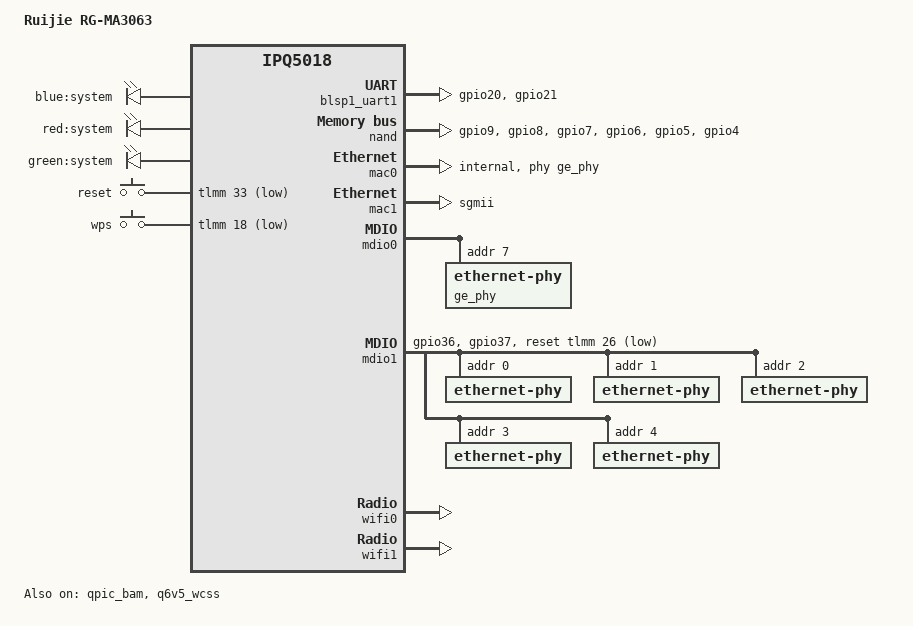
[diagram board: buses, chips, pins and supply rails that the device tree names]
// SPDX-License-Identifier: (GPL-2.0+)
//
// Ruijie RG-MA3063 (wuhu3) — Qualcomm IPQ5018 / AP-MP03.5-C1 reference board
// SPI NAND: GigaDevice GD5F2GM7REYIGR 256MiB SLC, 512MB RAM
// 2.4G: IPQ5018 internal (ath11k), 5G: QCN6122 (ath11k)
//
// FIRST-DRAFT port. Derived from hzyitc ipq5000-rax3000q.dts (QCA8337 + SGMII,
// matching the mp03.5-c1 reference) with board GPIOs decoded from the stock DTB
// (LED blue=17 red=19 green=22, reset=33, wps=18, UART rx=20 tx=21).
// Verify LED/key GPIOs and QCN6122 board_id via TTL serial after first boot.
// build#12 re-trigger 210759: conf.c syncconfig 补丁位置已修正（落 alldefconfig 分支，conf_read 之后取默认）。

/dts-v1/;

#include "ipq5018.dtsi"
#include <dt-bindings/gpio/gpio.h>
#include <dt-bindings/input/input.h>

/ {
	model = "Ruijie RG-MA3063";
	compatible = "ruijie,rg-ma3063", "qcom,ipq5018";

	#address-cells = <2>;
	#size-cells = <2>;
	interrupt-parent = <&intc>;

	aliases {
		serial0 = &blsp1_uart1;

		ethernet0 = &mac0;
		ethernet1 = &mac1;

		led-boot = &led_system_blue;
		led-failsafe = &led_system_red;
		led-running = &led_system_blue;
		led-upgrade = &led_system_green;
	};

	chosen {
		// Override the root parameter from u-boot
		bootargs-append = " root=/dev/ubiblock0_1 coherent_pool=2M";
		stdout-path = "serial0:115200n8";
	};

	reserved-memory {
		// Not sure why but without this, WiFi will crash
		tz_apps@4a400000 {
			no-map;
			reg = <0x0 0x4a400000 0x0 0x700000>;
		};

		q6_mem_regions: q6_mem_regions@4b000000 {
			no-map;
			reg = <0x0 0x4b000000 0x0 0x3000000>;
		};
	};

	thermal-zones {
		status = "ok";
	};
};

&tlmm {
	blsp_uart0_pins: blsp_uart0_pins {
		pins =
			"gpio20", // RX  (decode from stock DTB)
			"gpio21"; // TX
		function = "blsp0_uart1";
		drive-strength = <8>;
		bias-disable;
	};

	qspi_nand_pins: qspi_nand_pins {
		clock {
			pins = "gpio9";
			function = "qspi_clk";
			drive-strength = <8>;
			bias-disable;
		};

		cs {
			pins = "gpio8";
			function = "qspi_cs";
			drive-strength = <8>;
			bias-disable;
		};

		data0 {
			pins = "gpio7";
			function = "qspi0";
			drive-strength = <8>;
			bias-disable;
		};

		data1 {
			pins = "gpio6";
			function = "qspi1";
			drive-strength = <8>;
			bias-disable;
		};

		data2 {
			pins = "gpio5";
			function = "qspi2";
			drive-strength = <8>;
			bias-disable;
		};

		data3 {
			pins = "gpio4";
			function = "qspi3";
			drive-strength = <8>;
			bias-disable;
		};
	};

	mdio1_pins: mdio1_pins {
		mdc {
			pins = "gpio36";
			function = "mdc";
			drive-strength = <8>;
			bias-pull-up;
		};

		mdio {
			pins = "gpio37";
			function = "mdio";
			drive-strength = <8>;
			bias-pull-up;
		};
	};

	leds_pins: leds_pins {
		led_system_blue {
			pins = "gpio17";
			function = "gpio";
			drive-strength = <8>;
			bias-pull-down;
		};

		led_system_red {
			pins = "gpio19";
			function = "gpio";
			drive-strength = <8>;
			bias-pull-down;
		};

		led_system_green {
			pins = "gpio22";
			function = "gpio";
			drive-strength = <8>;
			bias-pull-down;
		};
	};

	button_pins: button_pins {
		button_reset {
			pins = "gpio33";
			function = "gpio";
			drive-strength = <8>;
			bias-pull-up;
		};

		button_wps {
			pins = "gpio18";
			function = "gpio";
			drive-strength = <8>;
			bias-pull-up;
		};
	};
};

&blsp1_uart1 {
	pinctrl-0 = <&blsp_uart0_pins>;
	pinctrl-names = "default";
	status = "ok";
};

&qpic_bam {
	status = "ok";
};

&nand {
	pinctrl-0 = <&qspi_nand_pins>;
	pinctrl-names = "default";
	status = "ok";
	// Partitions are taken from the OEM table via u-boot smem-part (NOMIBIB).
};

&soc {
	leds {
		compatible = "gpio-leds";
		pinctrl-0 = <&leds_pins>;
		pinctrl-names = "default";

		led_system_blue: led_system_blue {
			label = "blue:system";
			gpio = <&tlmm 17 GPIO_ACTIVE_HIGH>;
			default-state = "on";
		};

		led_system_red: led_system_red {
			label = "red:system";
			gpio = <&tlmm 19 GPIO_ACTIVE_HIGH>;
		};

		led_system_green: led_system_green {
			label = "green:system";
			gpio = <&tlmm 22 GPIO_ACTIVE_HIGH>;
		};
	};

	button {
		compatible = "gpio-keys";
		pinctrl-0 = <&button_pins>;
		pinctrl-names = "default";

		button_reset {
			label = "reset";
			gpios = <&tlmm 33 GPIO_ACTIVE_LOW>;
			linux,input-type = <EV_KEY>;
			linux,code = <KEY_RESTART>;
			debounce-interval = <60>;
		};

		button_wps {
			label = "wps";
			gpios = <&tlmm 18 GPIO_ACTIVE_LOW>;
			linux,input-type = <EV_KEY>;
			linux,code = <KEY_WPS_BUTTON>;
			debounce-interval = <60>;
		};
	};

	ess-instance {
		num_devices = <2>;

		ess-switch@0x39c00000 {
			compatible = "qcom,ess-switch-ipq50xx";
			device_id = <0>;

			cmnblk_clk = "internal_96MHz";

			switch_mac_mode = <0xf>; // PORT_WRAPPER_SGMII_CHANNEL0

			qcom,port_phyinfo {
				// MAC0 -> GE Phy -> QCA8337 Phy2
				port@0 {
					port_id = <1>;

					mdiobus = <&mdio0>;
					phy_address = <7>;

					phy_dac = <0x10 0x10>;
				};

				// MAC1 ---SGMII---> QCA8337 SerDes
				port@1 {
					port_id = <2>;

					forced-speed = <1000>;
					forced-duplex = <1>;
				};
			};
		};

		// QCA8337
		ess-switch1@1 {
			compatible = "qcom,ess-switch-qca83xx";
			device_id = <1>;

			reset_gpio = <26>;

			switch_access_mode = "mdio";
			mdio-bus = <&mdio1>;

			qca,ar8327-initvals = <
				0x000c 0x00000080
				0x0010 0x002613a0
				0x0094 0x000010ce
				0x00e0 0xc74164de
			>;

			switch_cpu_bmp = <0x48>;  // CPU port bitmap: 3 6
			switch_lan_bmp = <0x34>;  // LAN port bitmap: 2 4 5
			switch_wan_bmp = <0x02>;  // WAN port bitmap: 1

			qcom,port_phyinfo {
				port@1 {
					port_id = <1>;
					phy_address = <0>;
				};

				port@2 {
					port_id = <2>;
					phy_address = <1>;
				};

				port@3 {
					port_id = <3>;
					phy_address = <2>;
				};

				port@4 {
					port_id = <4>;
					phy_address = <3>;
				};

				port@5 {
					port_id = <5>;
					phy_address = <4>;
				};

				port@6 {
					port_id = <6>;

					forced-speed = <1000>;
					forced-duplex = <1>;
				};
			};
		};
	};

	// MAC0 -> GE Phy
	mac0: dp1 {
		compatible = "qcom,nss-dp";
		device_type = "network";
		qcom,id = <1>;

		reg = <0x39C00000 0x10000>;
		interrupts = <GIC_SPI 101 IRQ_TYPE_LEVEL_HIGH>;
		clocks = <&gcc GCC_SNOC_GMAC0_AXI_CLK>;
		clock-names = "nss-snoc-gmac-axi-clk";

		qcom,mactype = <2>;
		local-mac-address = [000000000000];
		phy-handle = <&ge_phy>;
		phy-mode = "internal";
	};

	// MAC1 ---SGMII---> QCA8337 SerDes
	mac1: dp2 {
		compatible = "qcom,nss-dp";
		device_type = "network";
		qcom,id = <2>;

		reg = <0x39D00000 0x10000>;
		interrupts = <GIC_SPI 109 IRQ_TYPE_LEVEL_HIGH>;
		clocks = <&gcc GCC_SNOC_GMAC1_AXI_CLK>;
		clock-names = "nss-snoc-gmac-axi-clk";

		qcom,mactype = <2>;
		local-mac-address = [000000000000];
		phy-mode = "sgmii";
	};
};

&mdio0 {
	status = "ok";

	resets = <&gcc GCC_GEPHY_MDC_SW_ARES>;
	reset-names = "phy";

	// IPQ5018 GE Phy -> QCA8337 Phy2
	ge_phy: ethernet-phy@0 {
		reg = <7>;
	};
};

&mdio1 {
	pinctrl-0 = <&mdio1_pins>;
	pinctrl-names = "default";
	status = "ok";

	reset-gpios = <&tlmm 26 GPIO_ACTIVE_LOW>;

	ethernet-phy@0 {
		reg = <0>;
	};

	ethernet-phy@1 {
		reg = <1>;
	};

	ethernet-phy@2 {
		reg = <2>;
	};

	ethernet-phy@3 {
		reg = <3>;
	};

	ethernet-phy@4 {
		reg = <4>;
	};
};

&q6v5_wcss {
	memory-region = <&q6_mem_regions>;

	qcom,rproc = <&q6v5_wcss>;
	firmware = "IPQ5018/q6_fw.mdt";

	qcom,bootargs_smem = <507>;
	boot-args = </*       type: */ 0x2 /* PCIE1 */
		     /*     length: */ 4
		     /*      PD id: */ 2
		     /* reset GPIO: */ 27
		     /*   reserved: */ 0 0>;

	status = "ok";

	// IPQ5018
	q6_wcss_pd1: remoteproc_pd1@4ab000 {
		compatible = "qcom,ipq5018-wcss-ahb-mpd";

		resets =
			<&gcc GCC_WCSSAON_RESET>,
			<&gcc GCC_WCSS_BCR>,
			<&gcc GCC_CE_BCR>;
		reset-names =
			"wcss_aon_reset",
			"wcss_reset",
			"ce_reset";

		clocks =
			<&gcc GCC_WCSS_AHB_S_CLK>,
			<&gcc GCC_WCSS_ACMT_CLK>,
			<&gcc GCC_WCSS_AXI_M_CLK>;
		clock-names =
			"gcc_wcss_ahb_s_clk",
			"gcc_wcss_acmt_clk",
			"gcc_wcss_axi_m_clk";

		reg = <0x4ab000 0x20>;
		reg-names = "rmb";

		interrupts-extended =
			<&wcss_smp2p_in 8 0>,
			<&wcss_smp2p_in 9 0>,
			<&wcss_smp2p_in 12 0>,
			<&wcss_smp2p_in 11 0>;
		interrupt-names =
			"fatal",
			"ready",
			"spawn-ack",
			"stop-ack";

		qcom,smem-states =
			<&wcss_smp2p_out 8>,
			<&wcss_smp2p_out 9>,
			<&wcss_smp2p_out 10>;
		qcom,smem-state-names =
			"shutdown",
			"stop",
			"spawn";

		firmware = "IPQ5018/q6_fw.mdt";
		m3_firmware = "IPQ5018/m3_fw.mdt";
	};

	// QCN6122
	q6_wcss_pd2: remoteproc_pd2 {
		compatible = "qcom,ipq5018-wcss-pcie-mpd";

		interrupts-extended =
			<&wcss_smp2p_in 16 0>,
			<&wcss_smp2p_in 17 0>,
			<&wcss_smp2p_in 20 0>,
			<&wcss_smp2p_in 19 0>;
		interrupt-names =
			"fatal",
			"ready",
			"spawn-ack",
			"stop-ack";

		qcom,smem-states =
			<&wcss_smp2p_out 16>,
			<&wcss_smp2p_out 17>,
			<&wcss_smp2p_out 18>;
		qcom,smem-state-names =
			"shutdown",
			"stop",
			"spawn";

		firmware = "IPQ5018/q6_fw.mdt";
		m3_firmware = "qcn6122/m3_fw.mdt";
	};
};

&wifi0 {
	// IPQ5018
	qcom,multipd_arch;
	qcom,rproc = <&q6_wcss_pd1>;
	qcom,userpd-subsys-name = "q6v5_wcss_userpd1";

	qcom,board_id = <0x24>;

	qcom,ath11k-fw-memory-mode = <2>;
	qcom,bdf-addr = <0x4c400000>;

	status = "ok";
};

&wifi1 {
	// QCN6122
	qcom,multipd_arch;
	qcom,rproc = <&q6_wcss_pd2>;
	qcom,userpd-subsys-name = "q6v5_wcss_userpd2";

	qcom,board_id = <0x60>;

	qcom,ath11k-fw-memory-mode = <2>;
	qcom,bdf-addr = <0x4d100000>;
	qcom,m3-dump-addr = <0x4df00000>;

	status = "ok";
};
